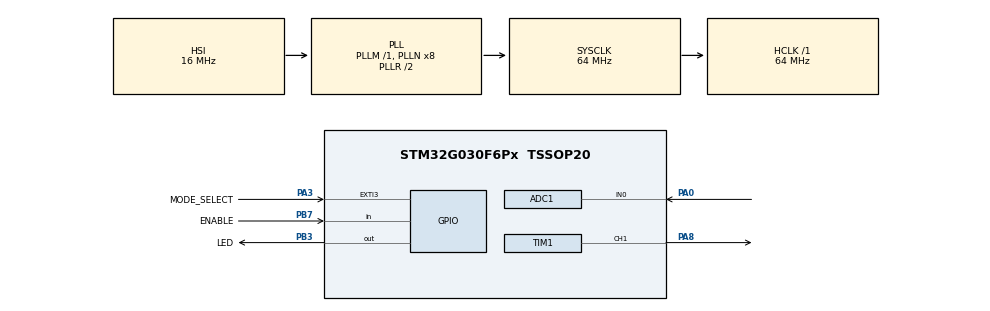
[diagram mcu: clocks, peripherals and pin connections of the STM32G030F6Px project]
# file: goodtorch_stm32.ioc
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ADC1.Channel-2\#ChannelRegularConversion=ADC_CHANNEL_0
ADC1.ExternalTrigConv=ADC_SOFTWARE_START
ADC1.NbrOfConversionFlag=1
ADC1.OversamplingMode=DISABLE
ADC1.Rank-2\#ChannelRegularConversion=1
ADC1.SamplingTime-2\#ChannelRegularConversion=ADC_SAMPLINGTIME_COMMON_1
ADC1.SamplingTimeCommon1=ADC_SAMPLETIME_19CYCLES_5
ADC1.SamplingTimeCommon2=ADC_SAMPLETIME_19CYCLES_5
ADC1.SelectedChannel=ADC_CHANNEL_0
ADC1.master=1
Mcu.Family=STM32G0
Mcu.Name=STM32G030F6Px
Mcu.Package=TSSOP20
NVIC.EXTI2_3_IRQn=true\:0\:0\:false\:false\:true\:true\:true\:true
PA0.Mode=IN0
PA0.Signal=ADC1_IN0
PA13.Mode=Serial_Wire
PA13.Signal=SYS_SWDIO
PA14-BOOT0.Mode=Serial_Wire
PA14-BOOT0.Signal=SYS_SWCLK
PA14-BOOT0__PA15.StandardMode=true
PA3.GPIO_Label=MODE_SELECT
PA3.Signal=GPXTI3
PA8.Signal=S_TIM1_CH1
PB0__PB1__PB2__PA8.StandardMode=true
PB3.GPIO_Label=LED
PB3.GPIO_Speed=GPIO_SPEED_FREQ_HIGH
PB3.PinState=GPIO_PIN_SET
PB3.Signal=GPIO_Output
PB3__PB4__PB5__PB6.StandardMode=true
PB7.GPIO_Label=ENABLE
PB7.Signal=GPIO_Input
PB7__PB8.StandardMode=true
PC14-OSC32_IN\ (PC14)__PB9.StandardMode=true
ProjectManager.HeapSize=0x200
ProjectManager.StackSize=0x400
ProjectManager.TargetToolchain=Makefile
RCC.ADCFreq_Value=64000000
RCC.AHBFreq_Value=64000000
RCC.CortexFreq_Value=64000000
RCC.EXTERNAL_CLOCK_VALUE=12288000
RCC.HCLKFreq_Value=64000000
RCC.HSE_VALUE=8000000
RCC.HSI_VALUE=16000000
RCC.LSE_VALUE=32768
RCC.SYSCLKFreq_VALUE=64000000
RCC.SYSCLKSource=RCC_SYSCLKSOURCE_PLLCLK
RCC.VCOOutputFreq_Value=128000000
SH.S_TIM1_CH1.0=TIM1_CH1,PWM Generation1 CH1
TIM1.Channel-PWM\ Generation1\ CH1=TIM_CHANNEL_1
TIM1.OC1Preload_PWM=DISABLE
TIM1.OCIdleState_1=TIM_OCIDLESTATE_RESET
TIM1.OCMode_PWM-PWM\ Generation1\ CH1=TIM_OCMODE_PWM2
TIM1.OCPolarity_1=TIM_OCPOLARITY_LOW
TIM1.Period=64
TIM1.Prescaler=0
TIM1.Pulse-PWM\ Generation1\ CH1=32
TIM1.TIM_MasterOutputTrigger=TIM_TRGO_RESET
TIM1.TIM_MasterOutputTrigger2=TIM_TRGO2_RESET
VP_TIM1_VS_ClockSourceINT.Mode=Internal
board=custom

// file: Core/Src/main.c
/* USER CODE BEGIN Header */
/**
 ******************************************************************************
 * @file           : main.c
 * @brief          : Main program body
 ******************************************************************************
 * @attention
 *
 * Copyright (c) 2024 STMicroelectronics.
 * All rights reserved.
 *
 * This software is licensed under terms that can be found in the LICENSE file
 * in the root directory of this software component.
 * If no LICENSE file comes with this software, it is provided AS-IS.
 *
 ******************************************************************************
 */
/* USER CODE END Header */
#include "main.h"

ADC_HandleTypeDef hadc1;

TIM_HandleTypeDef htim1;

void SystemClock_Config(void);
static void MX_GPIO_Init(void);
static void MX_TIM1_Init(void);
static void MX_ADC1_Init(void);

/* USER CODE BEGIN 0 */
uint8_t get_mode_button()
{
  return HAL_GPIO_ReadPin(MODE_SELECT_GPIO_Port, MODE_SELECT_Pin);
}
/* USER CODE END 0 */

int main(void)
{

  /* MCU Configuration--------------------------------------------------------*/

  /* Reset of all peripherals, Initializes the Flash interface and the Systick. */
  HAL_Init();

  /* Configure the system clock */
  SystemClock_Config();

  /* Initialize all configured peripherals */
  MX_GPIO_Init();
  MX_TIM1_Init();
  MX_ADC1_Init();

  /* Infinite loop */
  /* USER CODE BEGIN WHILE */

  // deiniting the timer by default
  // HAL_TIM_Base_MspDeInit(&htim1);

  // this will be low if the jumper is not placed
  // when its low, we don't want to run anything
  if (HAL_GPIO_ReadPin(ENABLE_GPIO_Port, ENABLE_Pin) == 0)
  {
    while (1)
    {
      HAL_GPIO_TogglePin(LED_GPIO_Port, LED_Pin);
      HAL_Delay(100);
      HAL_GPIO_TogglePin(LED_GPIO_Port, LED_Pin);
      HAL_Delay(100);
    }
  }

  // if everything is fine
  uint8_t mode_change = 1;
  uint8_t mode = 0;
  uint8_t mode_ctr = 0;
  HAL_TIM_PWM_Start(&htim1, TIM_CHANNEL_1);

  while (1)
  {
    // if its low
    if (get_mode_button() == 0)
    {
      // we wait it to become high again (released)
      while (get_mode_button() == 0)
      {
      };
      mode_change = 1;
      mode_ctr++;
      mode = mode_ctr % 5;
      HAL_Delay(100);
    }

    // selecting the mode
    if (mode_change)
    {
      mode_change = 0;

      // select the appropriate mode
      if (mode == 0) // this is off
      {
        __HAL_TIM_SET_COMPARE(&htim1, TIM_CHANNEL_1, 0); // 0% duty cycle
        // HAL_PWR_EnterSTANDBYMode();
      }

      if (mode == 1)
      {
        __HAL_TIM_SET_COMPARE(&htim1, TIM_CHANNEL_1, 10); // 10% duty cycle
      }

      else if (mode == 2)
      {
        // HAL_TIM_PWM_Start(&htim1, TIM_CHANNEL_1);
        // HAL_TIM_MspPostInit(&htim1);
        __HAL_TIM_SET_COMPARE(&htim1, TIM_CHANNEL_1, 16); // 25% duty cycle
      }

      else if (mode == 3)
      {
        // HAL_TIM_PWM_Start(&htim1, TIM_CHANNEL_1);
        // HAL_TIM_MspPostInit(&htim1);
        __HAL_TIM_SET_COMPARE(&htim1, TIM_CHANNEL_1, 32); // 50% duty cycle
      }

      else if (mode == 4)
      {
        // HAL_TIM_PWM_Start(&htim1, TIM_CHANNEL_1);
        // HAL_TIM_MspPostInit(&htim1);
        __HAL_TIM_SET_COMPARE(&htim1, TIM_CHANNEL_1, 45); // 70% duty cycle
      }
    }
    /* USER CODE END WHILE */

  }
}

void SystemClock_Config(void)
{
  RCC_OscInitTypeDef RCC_OscInitStruct = {0};
  RCC_ClkInitTypeDef RCC_ClkInitStruct = {0};

  /** Configure the main internal regulator output voltage
   */
  HAL_PWREx_ControlVoltageScaling(PWR_REGULATOR_VOLTAGE_SCALE1);

  /** Initializes the RCC Oscillators according to the specified parameters
   * in the RCC_OscInitTypeDef structure.
   */
  RCC_OscInitStruct.OscillatorType = RCC_OSCILLATORTYPE_HSI;
  RCC_OscInitStruct.HSIState = RCC_HSI_ON;
  RCC_OscInitStruct.HSIDiv = RCC_HSI_DIV1;
  RCC_OscInitStruct.HSICalibrationValue = RCC_HSICALIBRATION_DEFAULT;
  RCC_OscInitStruct.PLL.PLLState = RCC_PLL_ON;
  RCC_OscInitStruct.PLL.PLLSource = RCC_PLLSOURCE_HSI;
  RCC_OscInitStruct.PLL.PLLM = RCC_PLLM_DIV1;
  RCC_OscInitStruct.PLL.PLLN = 8;
  RCC_OscInitStruct.PLL.PLLP = RCC_PLLP_DIV2;
  RCC_OscInitStruct.PLL.PLLR = RCC_PLLR_DIV2;
  if (HAL_RCC_OscConfig(&RCC_OscInitStruct) != HAL_OK)
  {
    Error_Handler();
  }

  /** Initializes the CPU, AHB and APB buses clocks
   */
  RCC_ClkInitStruct.ClockType = RCC_CLOCKTYPE_HCLK | RCC_CLOCKTYPE_SYSCLK | RCC_CLOCKTYPE_PCLK1;
  RCC_ClkInitStruct.SYSCLKSource = RCC_SYSCLKSOURCE_PLLCLK;
  RCC_ClkInitStruct.AHBCLKDivider = RCC_SYSCLK_DIV1;
  RCC_ClkInitStruct.APB1CLKDivider = RCC_HCLK_DIV1;

  if (HAL_RCC_ClockConfig(&RCC_ClkInitStruct, FLASH_LATENCY_2) != HAL_OK)
  {
    Error_Handler();
  }
}

static void MX_ADC1_Init(void)
{

  ADC_ChannelConfTypeDef sConfig = {0};

  /** Configure the global features of the ADC (Clock, Resolution, Data Alignment and number of conversion)
   */
  hadc1.Instance = ADC1;
  hadc1.Init.ClockPrescaler = ADC_CLOCK_SYNC_PCLK_DIV2;
  hadc1.Init.Resolution = ADC_RESOLUTION_12B;
  hadc1.Init.DataAlign = ADC_DATAALIGN_RIGHT;
  hadc1.Init.ScanConvMode = ADC_SCAN_DISABLE;
  hadc1.Init.EOCSelection = ADC_EOC_SINGLE_CONV;
  hadc1.Init.LowPowerAutoWait = DISABLE;
  hadc1.Init.LowPowerAutoPowerOff = DISABLE;
  hadc1.Init.ContinuousConvMode = DISABLE;
  hadc1.Init.NbrOfConversion = 1;
  hadc1.Init.DiscontinuousConvMode = DISABLE;
  hadc1.Init.ExternalTrigConv = ADC_EXTERNALTRIG_T1_TRGO2;
  hadc1.Init.ExternalTrigConvEdge = ADC_EXTERNALTRIGCONVEDGE_RISING;
  hadc1.Init.DMAContinuousRequests = DISABLE;
  hadc1.Init.Overrun = ADC_OVR_DATA_PRESERVED;
  hadc1.Init.SamplingTimeCommon1 = ADC_SAMPLETIME_19CYCLES_5;
  hadc1.Init.SamplingTimeCommon2 = ADC_SAMPLETIME_19CYCLES_5;
  hadc1.Init.OversamplingMode = DISABLE;
  hadc1.Init.TriggerFrequencyMode = ADC_TRIGGER_FREQ_HIGH;
  if (HAL_ADC_Init(&hadc1) != HAL_OK)
  {
    Error_Handler();
  }

  /** Configure Regular Channel
   */
  sConfig.Channel = ADC_CHANNEL_0;
  sConfig.Rank = ADC_REGULAR_RANK_1;
  sConfig.SamplingTime = ADC_SAMPLINGTIME_COMMON_1;
  if (HAL_ADC_ConfigChannel(&hadc1, &sConfig) != HAL_OK)
  {
    Error_Handler();
  }
}

static void MX_TIM1_Init(void)
{

  TIM_ClockConfigTypeDef sClockSourceConfig = {0};
  TIM_MasterConfigTypeDef sMasterConfig = {0};
  TIM_OC_InitTypeDef sConfigOC = {0};
  TIM_BreakDeadTimeConfigTypeDef sBreakDeadTimeConfig = {0};

  htim1.Instance = TIM1;
  htim1.Init.Prescaler = 0;
  htim1.Init.CounterMode = TIM_COUNTERMODE_UP;
  htim1.Init.Period = 64;
  htim1.Init.ClockDivision = TIM_CLOCKDIVISION_DIV1;
  htim1.Init.RepetitionCounter = 0;
  htim1.Init.AutoReloadPreload = TIM_AUTORELOAD_PRELOAD_DISABLE;
  if (HAL_TIM_Base_Init(&htim1) != HAL_OK)
  {
    Error_Handler();
  }
  sClockSourceConfig.ClockSource = TIM_CLOCKSOURCE_INTERNAL;
  if (HAL_TIM_ConfigClockSource(&htim1, &sClockSourceConfig) != HAL_OK)
  {
    Error_Handler();
  }
  if (HAL_TIM_PWM_Init(&htim1) != HAL_OK)
  {
    Error_Handler();
  }
  sMasterConfig.MasterOutputTrigger = TIM_TRGO_RESET;
  sMasterConfig.MasterOutputTrigger2 = TIM_TRGO2_RESET;
  sMasterConfig.MasterSlaveMode = TIM_MASTERSLAVEMODE_DISABLE;
  if (HAL_TIMEx_MasterConfigSynchronization(&htim1, &sMasterConfig) != HAL_OK)
  {
    Error_Handler();
  }
  sConfigOC.OCMode = TIM_OCMODE_PWM2;
  sConfigOC.Pulse = 6;
  sConfigOC.OCPolarity = TIM_OCPOLARITY_LOW;
  sConfigOC.OCNPolarity = TIM_OCNPOLARITY_HIGH;
  sConfigOC.OCFastMode = TIM_OCFAST_DISABLE;
  sConfigOC.OCIdleState = TIM_OCIDLESTATE_RESET;
  sConfigOC.OCNIdleState = TIM_OCNIDLESTATE_RESET;
  if (HAL_TIM_PWM_ConfigChannel(&htim1, &sConfigOC, TIM_CHANNEL_1) != HAL_OK)
  {
    Error_Handler();
  }
  __HAL_TIM_DISABLE_OCxPRELOAD(&htim1, TIM_CHANNEL_1);
  sBreakDeadTimeConfig.OffStateRunMode = TIM_OSSR_DISABLE;
  sBreakDeadTimeConfig.OffStateIDLEMode = TIM_OSSI_DISABLE;
  sBreakDeadTimeConfig.LockLevel = TIM_LOCKLEVEL_OFF;
  sBreakDeadTimeConfig.DeadTime = 0;
  sBreakDeadTimeConfig.BreakState = TIM_BREAK_DISABLE;
  sBreakDeadTimeConfig.BreakPolarity = TIM_BREAKPOLARITY_HIGH;
  sBreakDeadTimeConfig.BreakFilter = 0;
  sBreakDeadTimeConfig.BreakAFMode = TIM_BREAK_AFMODE_INPUT;
  sBreakDeadTimeConfig.Break2State = TIM_BREAK2_DISABLE;
  sBreakDeadTimeConfig.Break2Polarity = TIM_BREAK2POLARITY_HIGH;
  sBreakDeadTimeConfig.Break2Filter = 0;
  sBreakDeadTimeConfig.Break2AFMode = TIM_BREAK_AFMODE_INPUT;
  sBreakDeadTimeConfig.AutomaticOutput = TIM_AUTOMATICOUTPUT_DISABLE;
  if (HAL_TIMEx_ConfigBreakDeadTime(&htim1, &sBreakDeadTimeConfig) != HAL_OK)
  {
    Error_Handler();
  }
  HAL_TIM_MspPostInit(&htim1);
}

static void MX_GPIO_Init(void)
{
  GPIO_InitTypeDef GPIO_InitStruct = {0};

  /* GPIO Ports Clock Enable */
  __HAL_RCC_GPIOB_CLK_ENABLE();
  __HAL_RCC_GPIOA_CLK_ENABLE();

  /*Configure GPIO pin Output Level */
  HAL_GPIO_WritePin(LED_GPIO_Port, LED_Pin, GPIO_PIN_SET);

  /*Configure GPIO pin : ENABLE_Pin */
  GPIO_InitStruct.Pin = ENABLE_Pin;
  GPIO_InitStruct.Mode = GPIO_MODE_INPUT;
  GPIO_InitStruct.Pull = GPIO_NOPULL;
  HAL_GPIO_Init(ENABLE_GPIO_Port, &GPIO_InitStruct);

  /*Configure GPIO pin : MODE_SELECT_Pin */
  GPIO_InitStruct.Pin = MODE_SELECT_Pin;
  GPIO_InitStruct.Mode = GPIO_MODE_INPUT;
  GPIO_InitStruct.Pull = GPIO_NOPULL;
  HAL_GPIO_Init(MODE_SELECT_GPIO_Port, &GPIO_InitStruct);

  /*Configure GPIO pin : LED_Pin */
  GPIO_InitStruct.Pin = LED_Pin;
  GPIO_InitStruct.Mode = GPIO_MODE_OUTPUT_PP;
  GPIO_InitStruct.Pull = GPIO_NOPULL;
  GPIO_InitStruct.Speed = GPIO_SPEED_FREQ_HIGH;
  HAL_GPIO_Init(LED_GPIO_Port, &GPIO_InitStruct);

  /* EXTI interrupt init*/
  HAL_NVIC_SetPriority(EXTI2_3_IRQn, 0, 0);
  HAL_NVIC_EnableIRQ(EXTI2_3_IRQn);

}

void Error_Handler(void)
{
  __disable_irq();
  while (1)
  {
  }
}
